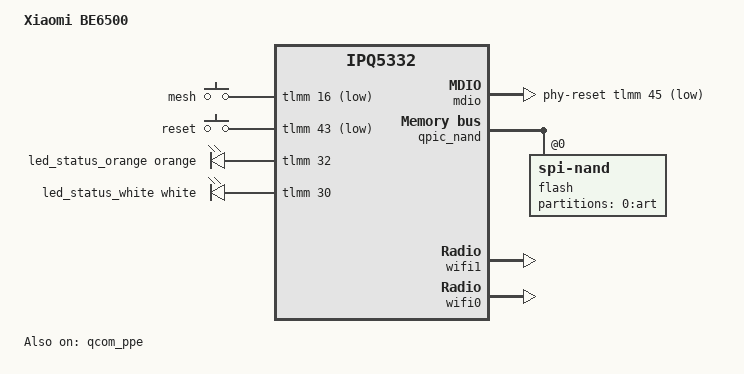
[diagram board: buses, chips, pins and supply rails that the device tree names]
// SPDX-License-Identifier: (GPL-2.0+ OR BSD-3-Clause)

/dts-v1/;

#include "ipq5332-common.dtsi"
#include "ipq5332-common-qca8386.dtsi"
#include "ipq5332-common-wifi.dtsi"

#include <dt-bindings/clock/qcom,ipq5332-cmn-pll.h>
#include <dt-bindings/clock/qcom,ipq5332-gcc.h>
#include <dt-bindings/clock/qcom,ipq5332-nsscc.h>

/ {
	model = "Xiaomi BE6500";
	compatible = "xiaomi,be6500", "qcom,ipq5332";

	aliases {
		led-boot = &led_status_orange;
		led-failsafe = &led_status_orange;
		led-running = &led_status_orange;
		led-upgrade = &led_status_orange;
	};

	chosen {
		bootargs-append = " root=/dev/ubiblock0_1";
	};

	keys {
		compatible = "gpio-keys";
		pinctrl-0 = <&button_pins>;
		pinctrl-names = "default";

		button-mesh {
			label = "mesh";
			gpios = <&tlmm 16 GPIO_ACTIVE_LOW>;
			linux,code = <BTN_9>;
			linux,input-type = <EV_KEY>;
			debounce-interval = <60>;
		};

		button-reset {
			label = "reset";
			gpios = <&tlmm 43 GPIO_ACTIVE_LOW>;
			linux,code = <KEY_RESTART>;
			debounce-interval = <60>;
		};
	};

	leds {
		compatible = "gpio-leds";
		pinctrl-0 = <&led_pins>;
		pinctrl-names = "default";

		led_status_orange: status-orange {
			color = <LED_COLOR_ID_ORANGE>;
			function = LED_FUNCTION_STATUS;
			gpios = <&tlmm 32 GPIO_ACTIVE_HIGH>;
			default-state = "on";
		};

		led_status_white: status-white {
			color = <LED_COLOR_ID_WHITE>;
			function = LED_FUNCTION_STATUS;
			gpios = <&tlmm 30 GPIO_ACTIVE_HIGH>;
			default-state = "off";
		};
	};
};

&ref_48mhz_clk {
	clock-div = <1>;
	clock-mult = <2>;
};

&xo_clk {
	clock-frequency = <24000000>;
};

&mdio {
	status = "okay";
	/* The active vendor Linux DT resets QCA8386 through GPIO45. */
	phy-reset-gpios = <&tlmm 45 GPIO_ACTIVE_LOW>;
};

&qca8386 {
	ports {
		port@1 {
			label = "lan1";
		};

		port@2 {
			label = "lan2";
		};

		port@3 {
			label = "lan3";
		};

		port@4 {
			label = "wan";
			nvmem-cells = <&base_macaddr 0>;
			nvmem-cell-names = "mac-address";
		};
	};
};

&qcom_ppe {
	status = "okay";
	/* Default EDMA page-fragment RX allocator for comparison build. */

	ethernet-ports {
		#address-cells = <1>;
		#size-cells = <0>;
	};
};

&ppe_qca8386 {
	nvmem-cells = <&base_macaddr 1>;
	nvmem-cell-names = "mac-address";
};

&qpic_nand {
	status = "okay";

	pinctrl-0 = <&qspi_pins>;
	pinctrl-names = "default";

	flash@0 {
		compatible = "spi-nand";
		reg = <0>;
		#address-cells = <1>;
		#size-cells = <1>;
		nand-ecc-engine = <&qpic_nand>;
		nand-ecc-strength = <8>;
		nand-ecc-step-size = <512>;
		nand-bus-width = <8>;

		partitions {
			compatible = "qcom,smem-part";

			partition-0-art {
				label = "0:art";
				read-only;

				nvmem-layout {
					compatible = "fixed-layout";
					#address-cells = <1>;
					#size-cells = <1>;

					base_macaddr: mac-address@0 {
						compatible = "mac-base";
						reg = <0x0 0x6>;
						#nvmem-cell-cells = <1>;
					};
				};
			};
		};
	};
};

&tlmm {
	button_pins: button-pins {
		pins = "gpio16", "gpio43";
		function = "gpio";
		drive-strength = <8>;
		bias-pull-up;
	};

	led_pins: led-pins {
		pins = "gpio30", "gpio32";
		function = "gpio";
		drive-strength = <8>;
		bias-pull-down;
		output-low;
	};
};

&wifi1 {
	qcom,board-id = <2>;

	nvmem-cells = <&base_macaddr 4>;
	nvmem-cell-names = "mac-address";
};

&wifi0 {
	qcom,board-id = <18>;

	nvmem-cells = <&base_macaddr 3>;
	nvmem-cell-names = "mac-address";
};
